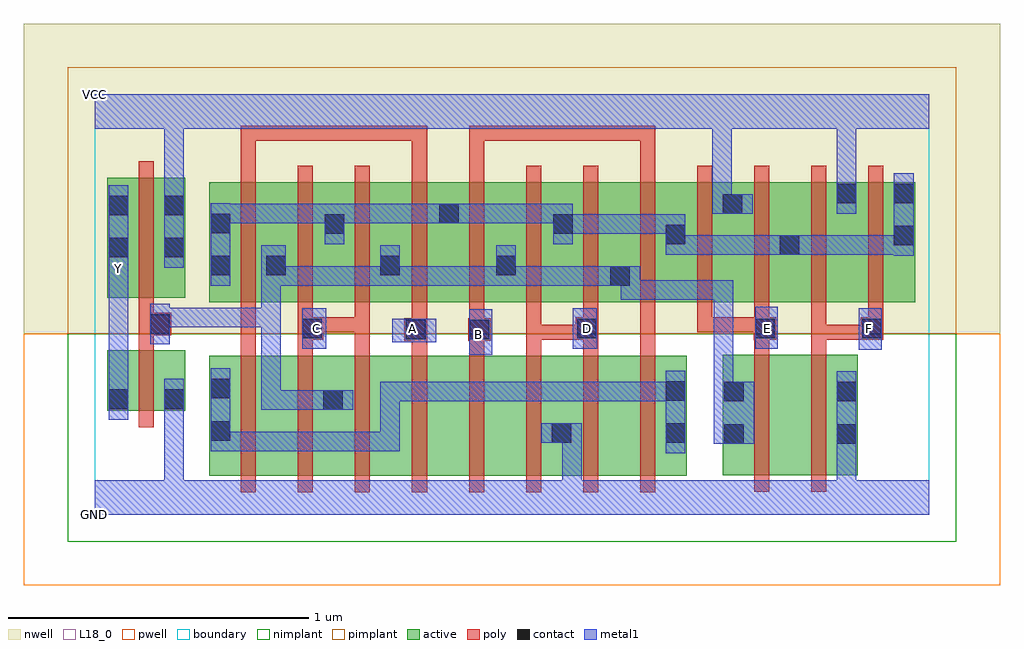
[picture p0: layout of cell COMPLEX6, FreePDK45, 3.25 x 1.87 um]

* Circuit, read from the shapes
.subckt COMPLEX6 A B C D E F GND VCC Y
M1 GND n1 Y VSUBS nfet w=0.2u l=0.05u
M2 n2 A n3 VSUBS nfet w=0.4u l=0.05u
M3 n1 C n2 VSUBS nfet w=0.4u l=0.05u
M4 n4 C n1 VSUBS nfet w=0.4u l=0.05u
M5 n5 A n4 VSUBS nfet w=0.4u l=0.05u
M6 n6 B n5 VSUBS nfet w=0.4u l=0.05u
M7 GND D n6 VSUBS nfet w=0.4u l=0.05u
M8 n7 D GND VSUBS nfet w=0.4u l=0.05u
M9 n3 B n7 VSUBS nfet w=0.4u l=0.05u
M10 n8 E n1 VSUBS nfet w=0.4u l=0.05u
M11 GND F n8 VSUBS nfet w=0.4u l=0.05u
M12 VCC n1 Y n9 pfet w=0.4u l=0.05u
M13 n1 A n10 n9 pfet w=0.4u l=0.05u m=2
M14 n10 C n1 n9 pfet w=0.4u l=0.05u m=2
M15 n1 B n10 n9 pfet w=0.4u l=0.05u m=2
M16 n10 D n1 n9 pfet w=0.4u l=0.05u m=2
M17 VCC E n10 n9 pfet w=0.4u l=0.05u m=2
M18 VCC F n10 n9 pfet w=0.4u l=0.05u m=2
.ends

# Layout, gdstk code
import gdstk
lib = gdstk.Library(unit=1e-6, precision=1e-09)
def R(c, l, rs):  # rectangles x0, y0, x1, y1
    for r in rs: c.add(gdstk.rectangle(r[:2], r[2:], *l))
def A(c, l, x, y, w, h, nx, ny, dx, dy):  # array of equal rectangles
    R(c, l, [(x+i*dx, y+j*dy, x+i*dx+w, y+j*dy+h) for i in range(nx) for j in range(ny)])
active = (1, 0)
pwell = (2, 0)
nwell = (3, 0)
nimplant = (4, 0)
pimplant = (5, 0)
poly = (9, 0)
contact = (10, 0)
metal1 = (11, 0)
L18_0 = (18, 0)
boundary = (235, 0)

complex6 = lib.new_cell('COMPLEX6')
A(complex6, active, 1.142, 0.707, 0.265, 0.4, 3, 1, 0.19, 0)
A(complex6, active, 1.897, 0.707, 0.265, 0.4, 4, 1, 0.19, 0)
A(complex6, active, 2.277, 0.707, 0.075, 0.4, 3, 1, 0.19, 0)
R(complex6, active, [(0.382,0.13,0.607,0.53), (0.607,0.13,0.832,0.53), (0.757,0.13,0.987,0.53), (0.987,0.13,1.177,0.53), (1.177,0.13,1.367,0.53), (1.367,0.13,1.592,0.53), (1.517,0.13,1.747,0.53), (1.747,0.13,1.972,0.53), (2.092,0.132,2.317,0.532), (2.317,0.132,2.542,0.532), (0.382,0.147,0.487,0.53), (0.757,0.147,0.832,0.492), (1.517,0.147,1.592,0.492), (1.897,0.147,1.972,0.53), (2.092,0.147,2.197,0.532), (2.467,0.147,2.542,0.532), (0.042,0.347,0.117,0.547), (0.042,0.347,0.302,0.547), (0.227,0.347,0.302,0.547), (0.382,0.707,0.457,1.107), (0.382,0.707,0.642,1.107), (0.567,0.707,0.642,1.067), (0.567,0.707,0.837,1.107), (0.762,0.707,1.022,1.107), (0.947,0.707,1.022,1.067), (0.947,0.707,1.217,1.107), (1.332,0.707,1.407,1.067), (1.712,0.707,1.972,1.107), (1.712,0.707,1.787,1.067), (1.897,0.707,1.972,1.107), (0.042,0.722,0.117,1.122), (0.042,0.722,0.302,1.122), (0.227,0.722,0.302,1.122), (0.762,0.782,0.837,1.107), (1.522,0.782,1.597,1.107), (1.142,0.802,1.217,1.107), (2.087,0.802,2.162,1.107)])
R(complex6, pwell, [(-0.235,-0.235,3.015,0.602)])
R(complex6, nwell, [(-0.235,0.602,3.015,1.635)])
R(complex6, nimplant, [(-0.09,-0.09,2.87,0.602)])
R(complex6, pimplant, [(-0.09,0.602,2.87,1.49)])
A(complex6, poly, 0.487, 0.075, 0.05, 0.51, 8, 1, 0.19, 0)
A(complex6, poly, 1.627, 0.607, 0.05, 0.095, 4, 1, 0.19, 0)
A(complex6, poly, 0.487, 0.652, 0.05, 0.51, 12, 1, 0.19, 0)
R(complex6, poly, [(2.197,0.077,2.247,0.587), (2.387,0.077,2.437,0.587), (0.147,0.292,0.197,0.602), (0.487,0.535,0.537,0.63), (0.677,0.535,0.727,0.632), (0.867,0.535,0.917,0.657), (1.057,0.535,1.107,0.63), (1.247,0.535,1.297,0.63), (1.437,0.535,1.487,0.632), (1.627,0.535,1.677,0.632), (1.817,0.535,1.867,0.657), (2.197,0.537,2.247,0.632), (2.387,0.537,2.437,0.632), (0.147,0.552,0.197,0.647), (0.487,0.58,0.537,0.63), (0.487,0.58,0.537,0.702), (1.032,0.58,1.107,0.655), (1.245,0.58,1.32,0.655), (0.677,0.582,0.762,0.657), (1.437,0.582,1.487,0.632), (1.437,0.582,1.487,0.632), (1.437,0.582,1.487,0.632), (1.437,0.582,1.652,0.632), (1.437,0.582,1.487,0.702), (1.602,0.582,1.677,0.657), (2.195,0.582,2.27,0.657), (2.387,0.582,2.437,0.632), (2.387,0.582,2.602,0.632), (2.387,0.582,2.437,0.702), (2.552,0.582,2.602,0.632), (2.552,0.582,2.602,0.632), (2.552,0.582,2.627,0.657), (0.147,0.597,0.255,0.672), (1.057,0.605,1.107,0.702), (1.247,0.605,1.297,0.702), (0.677,0.607,0.727,0.702), (0.712,0.607,0.917,0.657), (0.867,0.607,0.917,0.702), (0.867,0.607,0.917,0.657), (0.867,0.607,0.917,0.657), (0.867,0.607,0.917,0.657), (1.817,0.607,1.867,0.657), (2.007,0.607,2.057,0.657), (2.007,0.607,2.245,0.657), (2.195,0.607,2.245,0.657), (2.195,0.607,2.245,0.657), (2.577,0.607,2.627,0.702), (0.147,0.622,0.197,0.717), (0.147,0.667,0.197,1.177), (0.487,1.112,0.537,1.295), (1.057,1.112,1.107,1.295), (1.247,1.112,1.297,1.295), (1.817,1.112,1.867,1.295), (0.487,1.245,0.537,1.295), (0.487,1.245,0.537,1.295), (0.487,1.245,0.537,1.295), (0.487,1.245,0.762,1.295), (0.712,1.245,0.762,1.295), (0.712,1.245,0.895,1.295), (0.845,1.245,0.895,1.295), (0.845,1.245,0.895,1.295), (0.845,1.245,0.895,1.295), (0.845,1.245,1.107,1.295), (1.057,1.245,1.107,1.295), (1.057,1.245,1.107,1.295), (1.057,1.245,1.107,1.295), (1.247,1.245,1.297,1.295), (1.247,1.245,1.297,1.295), (1.247,1.245,1.297,1.295), (1.247,1.245,1.52,1.295), (1.47,1.245,1.52,1.295), (1.47,1.245,1.52,1.295), (1.47,1.245,1.52,1.295), (1.47,1.245,1.652,1.295), (1.602,1.245,1.652,1.295), (1.602,1.245,1.652,1.295), (1.602,1.245,1.652,1.295), (1.602,1.245,1.867,1.295), (1.817,1.245,1.867,1.295)])
R(complex6, contact, [(2.097,0.237,2.162,0.302), (2.472,0.237,2.537,0.302), (1.522,0.24,1.587,0.305), (1.902,0.24,1.967,0.305), (0.387,0.247,0.452,0.312), (0.762,0.35,0.827,0.415), (0.047,0.352,0.112,0.417), (0.232,0.352,0.297,0.417), (2.097,0.377,2.162,0.442), (2.472,0.377,2.537,0.442), (1.902,0.38,1.967,0.445), (0.387,0.387,0.452,0.452), (1.037,0.585,1.102,0.65), (1.25,0.585,1.315,0.65), (0.692,0.587,0.757,0.652), (1.607,0.587,1.672,0.652), (2.2,0.587,2.265,0.652), (2.557,0.587,2.622,0.652), (0.185,0.602,0.25,0.667), (1.717,0.762,1.782,0.827), (0.387,0.797,0.452,0.862), (0.572,0.797,0.637,0.862), (0.952,0.797,1.017,0.862), (1.337,0.797,1.402,0.862), (0.047,0.857,0.112,0.922), (0.232,0.857,0.297,0.922), (2.282,0.865,2.347,0.93), (2.662,0.897,2.727,0.962), (1.902,0.9,1.967,0.965), (0.767,0.935,0.832,1), (1.527,0.935,1.592,1), (0.387,0.937,0.452,1.002), (1.147,0.97,1.212,1.035), (0.047,0.997,0.112,1.062), (0.232,0.997,0.297,1.062), (2.092,1.002,2.157,1.067), (2.472,1.037,2.537,1.102), (2.662,1.037,2.727,1.102)])
R(complex6, metal1, [(0,0,2.78,0.115), (0.232,0.05,0.297,0.115), (0.232,0.05,0.297,0.115), (0.232,0.05,0.297,0.115), (0.232,0.05,0.297,0.115), (0.232,0.05,0.297,0.382), (1.557,0.05,1.622,0.305), (2.472,0.05,2.537,0.267), (2.472,0.202,2.537,0.477), (1.902,0.205,1.967,0.48), (0.387,0.212,0.452,0.487), (0.387,0.212,0.452,0.277), (0.387,0.212,0.452,0.277), (0.387,0.212,0.62,0.277), (0.555,0.212,0.62,0.277), (0.555,0.212,0.62,0.277), (0.555,0.212,0.62,0.277), (0.555,0.212,0.88,0.277), (0.815,0.212,1.017,0.277), (0.815,0.212,0.88,0.277), (0.815,0.212,0.88,0.277), (0.815,0.212,0.88,0.277), (0.952,0.212,1.017,0.277), (0.952,0.212,1.017,0.442), (2.062,0.237,2.197,0.442), (1.487,0.24,1.622,0.305), (0.047,0.317,0.112,0.452), (0.232,0.317,0.297,0.452), (0.555,0.35,0.62,0.415), (0.555,0.35,0.62,0.415), (0.555,0.35,0.62,0.415), (0.555,0.35,0.792,0.415), (0.555,0.35,0.62,0.69), (0.727,0.35,0.862,0.415), (0.952,0.377,1.017,0.442), (0.952,0.377,1.017,0.442), (0.952,0.377,1.017,0.442), (0.952,0.377,1.23,0.442), (1.165,0.377,1.23,0.442), (1.165,0.377,1.23,0.442), (1.165,0.377,1.23,0.442), (1.165,0.377,1.41,0.442), (1.345,0.377,1.41,0.442), (1.345,0.377,1.41,0.442), (1.345,0.377,1.41,0.442), (1.345,0.377,1.61,0.442), (1.545,0.377,1.747,0.442), (1.545,0.377,1.61,0.442), (1.545,0.377,1.61,0.442), (1.545,0.377,1.61,0.442), (1.682,0.377,1.747,0.442), (1.682,0.377,1.967,0.442), (1.902,0.377,1.967,0.442), (1.902,0.377,1.967,0.442), (2.062,0.377,2.127,0.78), (0.047,0.387,0.112,0.817), (1.247,0.532,1.325,0.685), (2.545,0.55,2.622,0.687), (0.692,0.552,0.772,0.687), (1.592,0.552,1.672,0.687), (2.2,0.552,2.275,0.692), (0.185,0.567,0.25,0.702), (0.992,0.575,1.137,0.652), (0.185,0.625,0.25,0.69), (0.185,0.625,0.25,0.69), (0.185,0.625,0.482,0.69), (0.417,0.625,0.482,0.69), (0.417,0.625,0.482,0.69), (0.417,0.625,0.482,0.69), (0.417,0.625,0.62,0.69), (0.555,0.625,0.62,0.69), (0.555,0.625,0.62,0.827), (1.752,0.715,1.817,0.78), (1.752,0.715,1.985,0.78), (1.752,0.715,1.817,0.827), (1.92,0.715,1.985,0.78), (1.92,0.715,1.985,0.78), (1.92,0.715,1.985,0.78), (1.92,0.715,2.127,0.78), (2.062,0.715,2.127,0.78), (2.062,0.715,2.127,0.78), (2.062,0.715,2.127,0.78), (0.047,0.752,0.112,0.887), (0.387,0.762,0.452,1.037), (0.555,0.762,0.637,0.897), (0.572,0.762,0.637,0.827), (0.572,0.762,0.637,0.827), (0.572,0.762,0.792,0.827), (0.727,0.762,0.792,0.827), (0.727,0.762,0.792,0.827), (0.727,0.762,0.792,0.827), (0.727,0.762,1.017,0.827), (0.952,0.762,1.017,0.827), (0.952,0.762,1.017,0.827), (0.952,0.762,1.017,0.897), (0.952,0.762,1.155,0.827), (1.09,0.762,1.155,0.827), (1.09,0.762,1.155,0.827), (1.09,0.762,1.155,0.827), (1.09,0.762,1.402,0.827), (1.337,0.762,1.402,0.827), (1.337,0.762,1.402,0.827), (1.337,0.762,1.402,0.897), (1.337,0.762,1.61,0.827), (1.545,0.762,1.747,0.827), (1.545,0.762,1.61,0.827), (1.545,0.762,1.61,0.827), (1.545,0.762,1.61,0.827), (1.682,0.762,1.817,0.827), (0.047,0.822,0.112,1.097), (0.047,0.822,0.112,0.887), (0.232,0.822,0.297,1.097), (2.662,0.862,2.727,1.137), (1.902,0.865,1.967,0.93), (1.902,0.865,1.967,0.93), (1.902,0.865,1.967,1), (1.902,0.865,2.122,0.93), (2.057,0.865,2.122,0.93), (2.057,0.865,2.122,0.93), (2.057,0.865,2.122,0.93), (2.057,0.865,2.312,0.93), (2.247,0.865,2.312,0.93), (2.247,0.865,2.312,0.93), (2.247,0.865,2.382,0.93), (2.317,0.865,2.452,0.93), (2.387,0.865,2.452,0.93), (2.387,0.865,2.59,0.93), (2.525,0.865,2.727,0.93), (2.525,0.865,2.59,0.93), (2.525,0.865,2.59,0.93), (2.525,0.865,2.59,0.93), (0.767,0.9,0.832,1.035), (1.527,0.9,1.592,1.035), (1.527,0.935,1.83,1), (1.765,0.935,1.967,1), (1.765,0.935,1.83,1), (1.765,0.935,1.83,1), (1.765,0.935,1.83,1), (1.902,0.935,1.967,1), (1.902,0.935,1.967,1), (0.387,0.97,0.452,1.035), (0.387,0.97,0.452,1.035), (0.387,0.97,0.655,1.035), (0.59,0.97,0.655,1.035), (0.59,0.97,0.655,1.035), (0.59,0.97,0.655,1.035), (0.59,0.97,0.832,1.035), (0.767,0.97,0.832,1.035), (0.767,0.97,0.832,1.035), (0.767,0.97,1.017,1.035), (0.952,0.97,1.017,1.035), (0.952,0.97,1.017,1.035), (0.952,0.97,1.017,1.035), (0.952,0.97,1.177,1.035), (1.112,0.97,1.247,1.035), (1.182,0.97,1.247,1.035), (1.182,0.97,1.247,1.035), (1.182,0.97,1.385,1.035), (1.32,0.97,1.385,1.035), (1.32,0.97,1.385,1.035), (1.32,0.97,1.385,1.035), (1.32,0.97,1.592,1.035), (2.057,1.002,2.122,1.067), (2.057,1.002,2.122,1.067), (2.057,1.002,2.192,1.067), (2.057,1.002,2.122,1.35), (2.472,1.002,2.537,1.137), (0.232,1.032,0.297,1.35), (2.472,1.072,2.537,1.35), (0,1.285,2.78,1.4), (0.232,1.285,0.297,1.35), (0.232,1.285,0.297,1.35), (2.472,1.285,2.537,1.35), (2.472,1.285,2.537,1.35)])
R(complex6, L18_0, [(0,0,2.78,0.115), (0.232,0.05,0.297,0.115), (0.232,0.05,0.297,0.115), (0.232,0.05,0.297,0.115), (0.232,0.05,0.297,0.115), (0.232,0.05,0.297,0.382), (1.557,0.05,1.622,0.305), (2.472,0.05,2.537,0.267), (2.472,0.202,2.537,0.477), (1.487,0.24,1.622,0.305), (0.047,0.317,0.112,0.452), (0.232,0.317,0.297,0.452), (0.047,0.387,0.112,0.817), (1.247,0.532,1.325,0.685), (2.545,0.55,2.622,0.687), (0.692,0.552,0.772,0.687), (1.592,0.552,1.672,0.687), (2.2,0.552,2.275,0.692), (1.247,0.567,1.312,0.632), (0.992,0.575,1.137,0.652), (0.707,0.587,0.772,0.652), (1.027,0.587,1.092,0.652), (1.607,0.587,1.672,0.652), (2.207,0.587,2.272,0.652), (2.547,0.587,2.612,0.652), (0.047,0.752,0.112,0.887), (0.047,0.787,0.112,0.852), (0.047,0.822,0.112,1.097), (0.047,0.822,0.112,0.887), (0.232,0.822,0.297,1.097), (2.057,1.002,2.122,1.067), (2.057,1.002,2.122,1.067), (2.057,1.002,2.192,1.067), (2.057,1.002,2.122,1.35), (2.472,1.002,2.537,1.137), (0.232,1.032,0.297,1.35), (2.472,1.072,2.537,1.35), (0,1.285,2.78,1.4), (0.232,1.285,0.297,1.35), (0.232,1.285,0.297,1.35), (2.472,1.285,2.537,1.35), (2.472,1.285,2.537,1.35)])
R(complex6, boundary, [(0,0,2.78,1.4)])
complex6.add(gdstk.Label('A', (1.06,0.62), layer=11, texttype=0))
complex6.add(gdstk.Label('B', (1.28,0.6), layer=11, texttype=0))
complex6.add(gdstk.Label('C', (0.74,0.62), layer=11, texttype=0))
complex6.add(gdstk.Label('D', (1.64,0.62), layer=11, texttype=0))
complex6.add(gdstk.Label('E', (2.24,0.62), layer=11, texttype=0))
complex6.add(gdstk.Label('F', (2.58,0.62), layer=11, texttype=0))
complex6.add(gdstk.Label('Y', (0.08,0.82), layer=11, texttype=0))
complex6.add(gdstk.Label('VCC', (0,1.4), layer=11, texttype=0))
complex6.add(gdstk.Label('GND', (0,0), layer=11, texttype=0))

lib.write_gds('COMPLEX6.gds')
